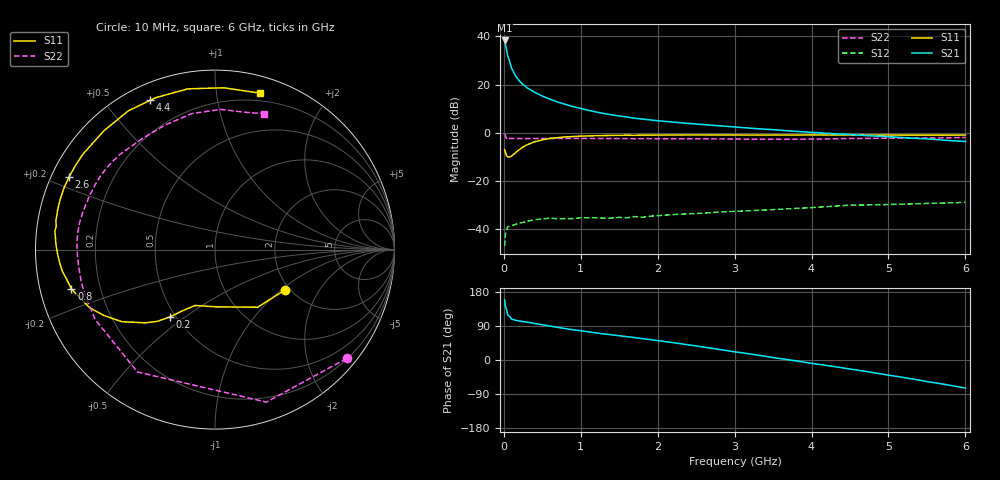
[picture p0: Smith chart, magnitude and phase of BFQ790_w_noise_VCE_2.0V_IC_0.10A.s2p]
! (c) 2015  Infineon Technologies AG, Munich
! Infineon Technologies  Discrete & RF Semiconductors
! BFQ790
! VCE =  2.0 V,  IC = 0.10 A
! Common Emitter S-Parameters:  May 2015
# GHz  S  MA  R  50
!  f  S11  S21  S12  S22
! GHz  MAG  ANG  MAG  ANG  MAG  ANG  MAG  ANG
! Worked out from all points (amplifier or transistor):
!   77 points, 10 MHz to 6 GHz, reference 50 ohm
!   highest |S21| = 38.3 dB at 10 MHz (marker M1)
!   |S21| within 3 dB of that: start of sweep to 30.05 MHz
!   unconditionally stable (mu >= 1): 1.164 GHz to end of sweep
!   at 130 MHz: K = 0.69, MSG = 31.6 dB, |S12| = -38.1 dB
!   at 2.2 GHz: K = 1.18, MAG = 16.6 dB, |S12| = -33.9 dB
!   at 6 GHz: K = 1.25, MAG = 9.6 dB, |S12| = -28.8 dB
!   lowest NFmin = 2.59 dB at 1.5 GHz
!   S11 on the Smith chart (normalised r, x): 10 MHz: 1.90, -1.06; 200 MHz: 0.47, -0.44; 800 MHz: 0.09, -0.13; 2.6 GHz: 0.05, +0.23; 4.4 GHz: 0.07, +0.65; 6 GHz: 0.13, +1.32
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0.01  0.451 -29.7  82.63 158.5  0.0045 65.0  0.9516 -39.6
0.02  0.3996 -53.5  69.3 141.6  0.0078 52.2  0.8966 -71.4
0.05  0.3185 -89.7  39.56 118.4  0.0114 28.2  0.8072 -122.4
0.1  0.3305 -109.6  21.92 108.0  0.0119 17.4  0.7728 -149.8
0.15  0.3874 -118.2  15.37 104.8  0.0127 18.6  0.7669 -160.7
0.2  0.4518 -123.8  12.06 102.9  0.0135 19.4  0.7666 -166.5
0.25  0.5131 -128.8  10.06 101.5  0.014 16.6  0.7648 -170.4
0.3  0.5655 -133.8  8.675 99.9  0.0147 14.7  0.7653 -173.3
0.4  0.6567 -142.3  6.948 96.4  0.0159 13.8  0.7669 -177.6
0.5  0.7193 -149.3  5.804 92.9  0.0165 10.9  0.7685 179.3
0.6  0.7706 -155.2  5.007 89.5  0.0171 10.4  0.7703 176.7
0.7  0.7985 -160.4  4.372 86.1  0.0167 10.4  0.7706 174.6
0.8  0.8296 -164.6  3.91 82.9  0.0168 5.5  0.7698 172.7
1.1  0.8687 -175.3  2.943 74.2  0.0174 4.6  0.7685 167.7
1.5  0.8921 175.3  2.244 64.0  0.0178 5.1  0.7624 162.1
2.1  0.9048 164.1  1.735 48.6  0.0198 3.0  0.7591 153.4
2.6  0.9084 153.6  1.488 34.1  0.0217 -0.2  0.7566 143.8
3.1  0.905 142.1  1.294 18.9  0.0241 -6.0  0.7449 132.6
4.1  0.9085 119.8  1.006 -11.6  0.029 -18.4  0.7495 109.1
4.4  0.9066 113.4  0.944 -20.7  0.0311 -23.7  0.7619 102.0
5.1  0.9037 97.1  0.818 -43.1  0.0331 -37.1  0.7802 85.6
6  0.9068 74.1  0.666 -74.2  0.0365 -55.7  0.8052 70.0
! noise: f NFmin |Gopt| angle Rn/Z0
0.45  3.96  0.39  132  0.4
0.9  2.84  0.53  163  0.14
1.5  2.59  0.65  -175  0.07
1.8  2.71  0.67  -170  0.08
2.6  3.14  0.72  -153  0.2
3.5  3.78  0.82  -136  0.49
